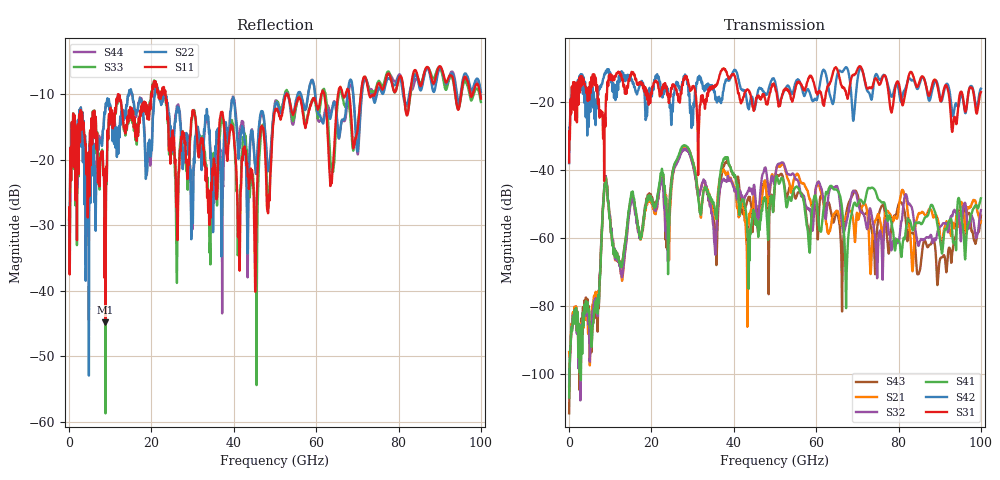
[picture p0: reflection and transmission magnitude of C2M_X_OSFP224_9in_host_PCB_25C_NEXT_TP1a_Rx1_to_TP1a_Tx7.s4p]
# GHz S RI R 45
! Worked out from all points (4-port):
!   4000 points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, 25 MHz to 100 GHz, reference 45 ohm
!   strongest paths, dB at 25 MHz, 25.02 GHz, 50.02 GHz, 75.03 GHz, 100 GHz:
!     S31: -37.7, -15.5, -15.4, -14.1, -17.0
!     S42: -37.9, -22.2, -13.8, -12.5, -15.9
!     S41: -107.0, -42.0, -43.9, -48.4, -48.3
!     S32: -103.7, -42.9, -42.4, -63.6, -51.8
!     S21: -93.7, -43.7, -41.9, -52.9, -55.1
!     S43: -111.7, -41.4, -44.1, -54.8, -53.5
!   lowest |S11| = -44.8 dB at 8.85 GHz (marker M1), VSWR 1.01, Z = 45.4 - j0.299 ohm
!   |S11| at or under -10 dB: start of sweep to 19.93 GHz; 23.44 GHz to 52.8 GHz (29.36 GHz wide, 77 % of centre); 52.94 GHz to 61.26 GHz (8.317 GHz wide, 14.6 % of centre) (the widest 3 of 16)
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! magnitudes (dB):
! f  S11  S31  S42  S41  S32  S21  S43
! 25 MHz  -29.2  -37.7  -37.9  -107.0  -103.7  -93.7  -111.7
! 6.8 GHz  -15.9  -14.9  -20.8  -78.0  -78.3  -76.0  -79.7
! 8.85 GHz  -44.8  -25.8  -11.3  -42.5  -42.1  -42.5  -42.1
! 12.72 GHz  -12.0  -12.1  -11.2  -68.4  -70.7  -71.1  -67.8
! 28.18 GHz  -17.3  -12.2  -11.8  -32.8  -34.1  -33.4  -33.5
! 67.33 GHz  -9.7  -17.7  -9.7  -76.9  -55.5  -53.5  -52.4
! 100 GHz  -10.7  -17.0  -15.9  -48.3  -51.8  -55.1  -53.5
